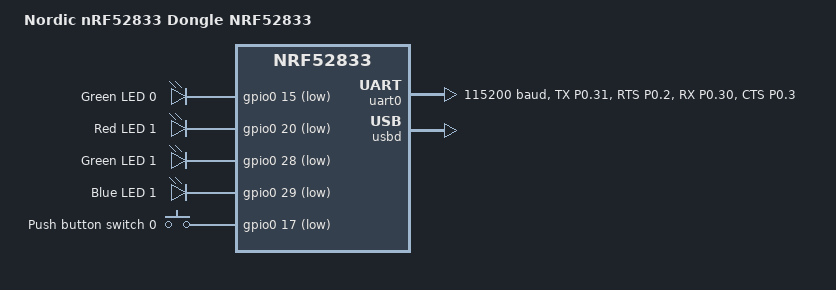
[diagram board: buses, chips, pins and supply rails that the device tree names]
/*
 * Copyright (c) 2020 Nordic Semiconductor ASA
 *
 * SPDX-License-Identifier: LicenseRef-Nordic-5-Clause
 */

/dts-v1/;
#include <nordic/nrf52833_qiaa.dtsi>

/ {
	model = "Nordic nRF52833 Dongle NRF52833";
	compatible = "nordic,nrf52833-dongle-nrf52833";

	chosen {
		zephyr,console = &uart0;
		zephyr,sram = &sram0;
		zephyr,flash = &flash0;
		zephyr,code-partition = &slot0_partition;
	};

	leds {
		compatible = "gpio-leds";
		led0_green: led_0 {
			gpios = <&gpio0 15 GPIO_ACTIVE_LOW>;
			label = "Green LED 0";
		};
		led1_red: led_1 {
			gpios = <&gpio0 20 GPIO_ACTIVE_LOW>;
			label = "Red LED 1";
		};
		led1_green: led_2 {
			gpios = <&gpio0 28 GPIO_ACTIVE_LOW>;
			label = "Green LED 1";
		};
		led1_blue: led_3 {
			gpios = <&gpio0 29 GPIO_ACTIVE_LOW>;
			label = "Blue LED 1";
		};
	};

	buttons {
		compatible = "gpio-keys";
		button0: button_0 {
			gpios = <&gpio0 17 (GPIO_PULL_UP | GPIO_ACTIVE_LOW)>;
			label = "Push button switch 0";
		};
	};

	/* These aliases are provided for compatibility with samples */
	aliases {
		sw0 = &button0;
		led0 = &led0_green;
		led1 = &led1_red;
		led2 = &led1_green;
		led3 = &led1_blue;
		led0-green = &led0_green;
		led1-red   = &led1_red;
		led1-green = &led1_green;
		led1-blue  = &led1_blue;
		mcuboot-button0 = &button0;
		mcuboot-led0 = &led1_blue;
	};
};

&uicr {
	nfct-pins-as-gpios;
};

&gpiote {
	status = "okay";
};

&gpio0 {
	status = "okay";
};

&gpio1 {
	status = "okay";
};

&uart0 {
	compatible = "nordic,nrf-uart";
	status = "okay";
	current-speed = <115200>;
	pinctrl-0 = <&uart0_default>;
	pinctrl-1 = <&uart0_sleep>;
	pinctrl-names = "default", "sleep";
};

&pinctrl {
	uart0_default: uart0_default {
		group1 {
			psels = <NRF_PSEL(UART_TX, 0, 31)>,
				<NRF_PSEL(UART_RTS, 0, 2)>,
				<NRF_PSEL(UART_RX, 0, 30)>,
				<NRF_PSEL(UART_CTS, 0, 3)>;
		};
	};

	uart0_sleep: uart0_sleep {
		group1 {
			psels = <NRF_PSEL(UART_TX, 0, 31)>,
				<NRF_PSEL(UART_RTS, 0, 2)>,
				<NRF_PSEL(UART_RX, 0, 30)>,
				<NRF_PSEL(UART_CTS, 0, 3)>;
			low-power-enable;
		};
	};
};

&flash0 {
	/*
	 * For more information, see:
	 * http://docs.zephyrproject.org/latest/guides/dts/index.html#flash-partitions
	 */
	partitions {
		compatible = "fixed-partitions";
		#address-cells = <1>;
		#size-cells = <1>;

		boot_partition: partition@0 {
			label = "mcuboot";
			reg = <0x000000000 0xC000>;
		};
		slot0_partition: partition@c000 {
			label = "image-0";
			reg = <0x0000C000 0x32000>;
		};
		slot1_partition: partition@3e000 {
			label = "image-1";
			reg = <0x0003E000 0x32000>;
		};
		scratch_partition: partition@70000 {
			label = "image-scratch";
			reg = <0x00070000 0xA000>;
		};
		storage_partition: partition@7a000 {
			label = "storage";
			reg = <0x0007A000 0x00006000>;
		};
	};
};

zephyr_udc0: &usbd {
	compatible = "nordic,nrf-usbd";
	status = "okay";
};
